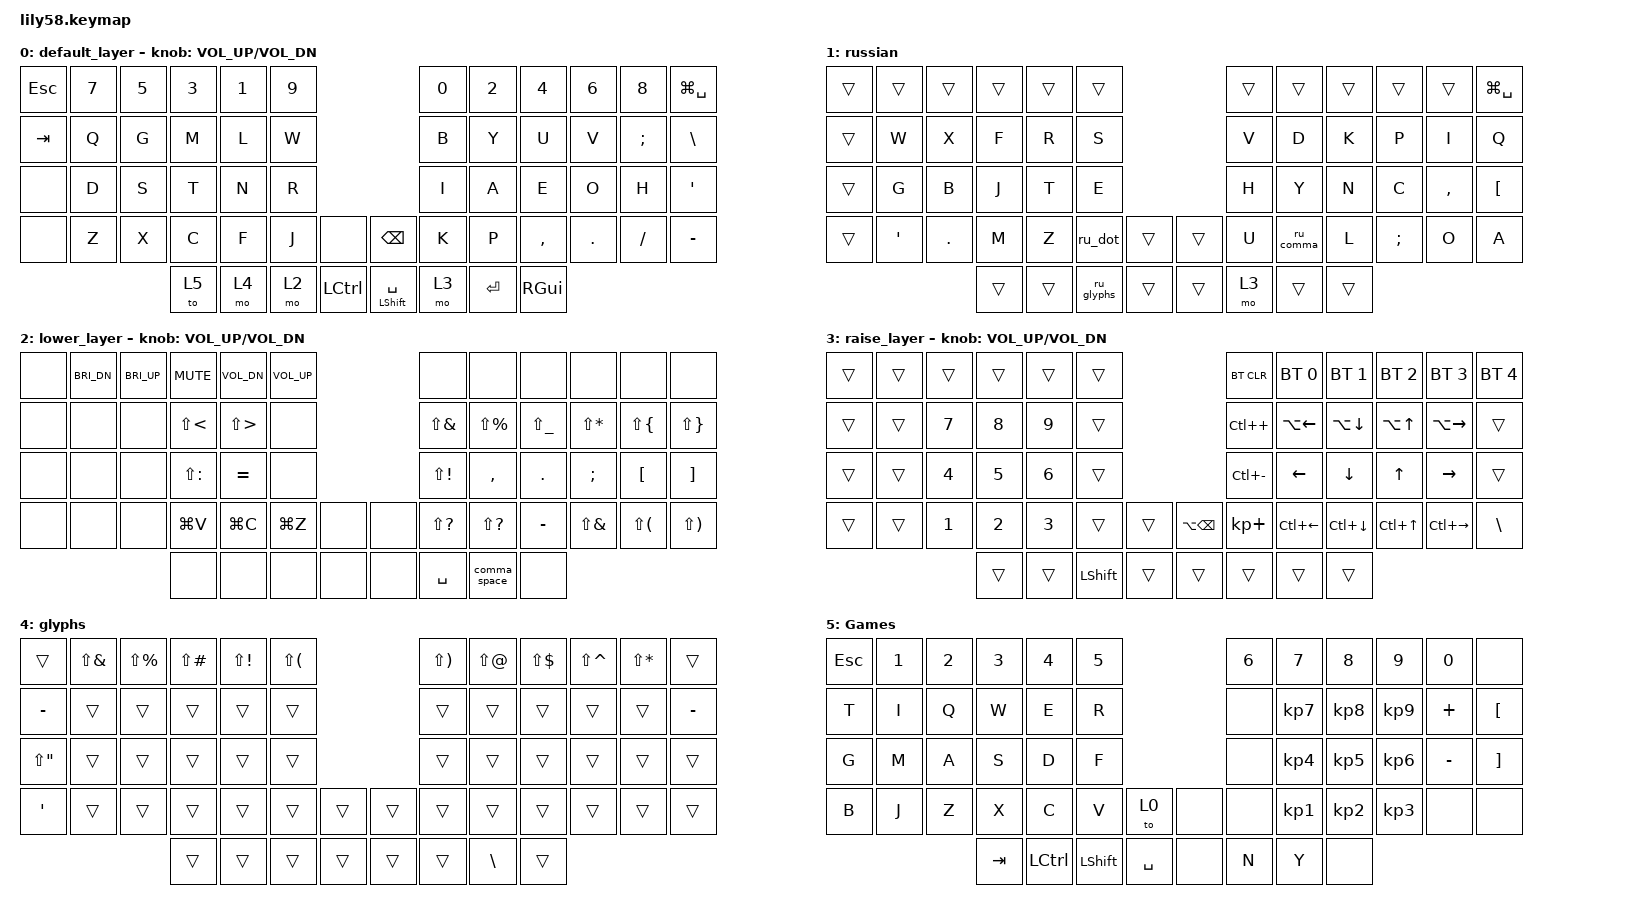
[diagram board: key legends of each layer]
/*
 * Copyright (c) 2020 The ZMK Contributors
 *
 * SPDX-License-Identifier: MIT
 */

#include <behaviors.dtsi>
#include <dt-bindings/zmk/bt.h>
#include <dt-bindings/zmk/keys.h>

/ {
    combos {
        compatible = "zmk,combos";

        fourth_layer_accord {
            bindings = <&to_rus>;
            key-positions = <51 52>;
            layers = <0>;
        };

        from_rus_to_def {
            bindings = <&from_rus>;
            key-positions = <51 52>;
            layers = <1>;
        };

        hard_sign {
            bindings = <&kp RIGHT_BRACKET>;
            key-positions = <39 40>;
            layers = <1>;
        };

        l3_underscore {
            bindings = <&kp LS(MINUS)>;
            key-positions = <55 56>;
        };

        i_o {
            bindings = <&kp BACKSLASH>;
            key-positions = <27 28>;
        };
    };

    macros {
        comma_space: comma_space {
            compatible = "zmk,behavior-macro";
            #binding-cells = <0>;
            bindings = <&macro_tap>, <&kp COMMA &kp SPACE>;

            label = "COMMA_SPACE";
        };

        to_rus: to_rus {
            compatible = "zmk,behavior-macro";
            #binding-cells = <0>;
            bindings = <&kp LG(SPACE) &to 1>;
            label = "TO_RUS";
        };

        from_rus: from_rus {
            compatible = "zmk,behavior-macro";
            #binding-cells = <0>;
            bindings = <&kp LG(SPACE) &to 0>;
            label = "FROM_RUS";
        };

        ru_glyphs: ru_glyphs {
            compatible = "zmk,behavior-macro";
            #binding-cells = <0>;
            bindings =
                <&kp LG(SPACE) &to 2>,
                <&macro_pause_for_release>,
                <&kp LG(SPACE) &to 1>;

            label = "RU_GLYPHS";
        };

        ru_dot: ru_dot {
            compatible = "zmk,behavior-macro";
            #binding-cells = <0>;
            bindings = <&kp LG(SPACE) &kp PERIOD &kp LG(SPACE)>;
            label = "RU_DOT";
        };

        ru_comma: ru_comma {
            compatible = "zmk,behavior-macro";
            #binding-cells = <0>;
            bindings = <&lang_shift &kp COMMA &lang_shift>;
            label = "RU_COMMA";
        };

        lang_shift: lang_shift {
            compatible = "zmk,behavior-macro";
            #binding-cells = <0>;
            bindings = <&kp LG(SPACE)>;
            label = "LANG_SHIFT";
        };
    };

    keymap {
        compatible = "zmk,keymap";

        default_layer {
            // ------------------------------------------------------------------------------------------------------------
            // |  ESC  |  1  |  2  |  3   |  4   |  5   |                   |  6   |  7    |  8    |  9   |   0   |   `   |
            // |  TAB  |  Q  |  W  |  E   |  R   |  T   |                   |  Y   |  U    |  I    |  O   |   P   |   -   |
            // |  CTRL |  A  |  S  |  D   |  F   |  G   |                   |  H   |  J    |  K    |  L   |   ;   |   '   |
            // | SHIFT |  Z  |  X  |  C   |  V   |  B   |   "["  |  |  "]"  |  N   |  M    |  ,    |  .   |   /   | SHIFT |
            //                     | ALT  | GUI  | LOWER|  SPACE |  | ENTER | RAISE| BSPC  | GUI   |

            bindings = <
&kp ESC  &kp N7  &kp N5  &kp N3  &kp N1  &kp N9                                     &kp N0  &kp N2     &kp N4     &kp N6   &kp N8    &kp LG(SPACE)
&kp TAB  &kp Q   &kp G   &kp M   &kp L   &kp W                                      &kp B   &kp Y      &kp U      &kp V    &kp SEMI  &kp BSLH
&none    &kp D   &kp S   &kp T   &kp N   &kp R                                      &kp I   &kp A      &kp E      &kp O    &kp H     &kp SQT
&none    &kp Z   &kp X   &kp C   &kp F   &kp J   &none        &kp BACKSPACE         &kp K   &kp P      &kp COMMA  &kp DOT  &kp FSLH  &kp MINUS
                         &to 5   &mo 4   &mo 2   &kp LCTRL    &mt LEFT_SHIFT SPACE  &mo 3   &kp ENTER  &kp RGUI
            >;

            sensor-bindings = <&inc_dec_kp C_VOL_UP C_VOL_DN>;
        };

        russian {
            bindings = <
&trans  &trans   &trans   &trans  &trans  &trans                        &trans  &trans     &trans  &trans    &trans     &kp LG(SPACE)
&trans  &kp W    &kp X    &kp F   &kp R   &kp S                         &kp V   &kp D      &kp K   &kp P     &kp I      &kp Q
&trans  &kp G    &kp B    &kp J   &kp T   &kp E                         &kp H   &kp Y      &kp N   &kp C     &kp COMMA  &kp LBKT
&trans  &kp SQT  &kp DOT  &kp M   &kp Z   &ru_dot     &trans    &trans  &kp U   &ru_comma  &kp L   &kp SEMI  &kp O      &kp A
                          &trans  &trans  &ru_glyphs  &trans    &trans  &mo 3   &trans     &trans
            >;
        };

        lower_layer {
            // --------------------------------------------------------------------------------------------------------------
            // | LPAD  | BRDn | BRUp |  MUT |  Vo- |  Vo+ |                   |      |       |       |      |       |       |
            // |  F1   |  F2  |  F3  |  F4  |  F5  |  F6  |                   |  F7  |  F8   |  F9   |  F10 |  F11  |  F12  |
            // |   `   |  !   |  @   |  #   |  $   |  %   |                   |  ^   |  &    |  *    |  (   |   )   |   ~   |
            // |       |      |      |      |      |      |        |  |       |      |  _    |  +    |  {   |   }   |  "|"  |
            //                       |      |      |      |        |  |       |      |       |       |

            bindings = <
&none  &kp C_BRI_DN  &kp C_BRI_UP  &kp C_MUTE     &kp C_VOL_DN  &kp C_VOL_UP                  &none          &none          &none          &none         &none         &none
&none  &none         &none         &kp LS(LT)     &kp LS(GT)    &none                         &kp LS(AMPS)   &kp LS(PRCNT)  &kp LS(UNDER)  &kp LS(STAR)  &kp LS(LBRC)  &kp LS(RBRC)
&none  &none         &none         &kp LS(COLON)  &kp EQUAL     &none                         &kp LS(EXCL)   &kp COMMA      &kp DOT        &kp SEMI      &kp LBKT      &kp RBKT
&none  &none         &none         &kp LG(V)      &kp LG(C)     &kp LG(Z)     &none    &none  &kp LS(QMARK)  &kp LS(QMARK)  &kp MINUS      &kp LS(AMPS)  &kp LS(LPAR)  &kp LS(RPAR)
                                   &none          &none         &none         &none    &none  &kp SPACE      &comma_space   &none
            >;

            sensor-bindings = <&inc_dec_kp C_VOL_UP C_VOL_DN>;
        };

        raise_layer {
            // ------------------------------------------------------------------------------------------------------------
            // |       |     |     |      |      |      |                   |      |       |       |      |       |       |
            // |   `   |  1  |  2  |  3   |  4   |  5   |                   |  6   |   7   |   8   |  9   |   0   |       |
            // |   F1  |  F2 |  F3 |  F4  |  F5  |  F6  |                   |      |   <-  |   v   |  ^   |  ->   |       |
            // |   F7  |  F8 |  F9 |  F10 |  F11 |  F12 |        |  |       |  +   |   -   |   =   |  [   |   ]   |   \   |
            //                     |      |      |      |        |  |       |      |       |       |

            bindings = <
&trans  &trans  &trans  &trans  &trans  &trans                                       &bt BT_CLR     &bt BT_SEL 0        &bt BT_SEL 1  &bt BT_SEL 2      &bt BT_SEL 3         &bt BT_SEL 4
&trans  &trans  &kp N7  &kp N8  &kp N9  &trans                                       &kp LC(PLUS)   &kp LA(LEFT_ARROW)  &kp LA(DOWN)  &kp LA(UP)        &kp LA(RIGHT)        &trans
&trans  &trans  &kp N4  &kp N5  &kp N6  &trans                                       &kp LC(MINUS)  &kp LEFT            &kp DOWN      &kp UP            &kp RIGHT            &trans
&trans  &trans  &kp N1  &kp N2  &kp N3  &trans          &trans    &kp LA(BACKSPACE)  &kp KP_PLUS    &kp LC(LEFT_ARROW)  &kp LC(DOWN)  &kp LC(UP_ARROW)  &kp LC(RIGHT_ARROW)  &kp BSLH
                        &trans  &trans  &kp LEFT_SHIFT  &trans    &trans             &trans         &trans              &trans
            >;

            sensor-bindings = <&inc_dec_kp C_VOL_UP C_VOL_DN>;
        };

        glyphs {
            bindings = <
&trans       &kp LS(AMPS)  &kp LS(PRCNT)  &kp LS(POUND)  &kp LS(EXCL)  &kp LS(LPAR)                    &kp LS(RPAR)  &kp LS(AT)  &kp LS(DLLR)  &kp LS(CARET)  &kp LS(STAR)  &trans
&kp MINUS    &trans        &trans         &trans         &trans        &trans                          &trans        &trans      &trans        &trans         &trans        &kp MINUS
&kp LS(DQT)  &trans        &trans         &trans         &trans        &trans                          &trans        &trans      &trans        &trans         &trans        &trans
&kp SQT      &trans        &trans         &trans         &trans        &trans        &trans    &trans  &trans        &trans      &trans        &trans         &trans        &trans
                                          &trans         &trans        &trans        &trans    &trans  &trans        &kp BSLH    &trans
            >;
        };

        Games {
            bindings = <
&kp ESC  &kp N1  &kp N2  &kp N3   &kp N4     &kp N5                         &kp N6  &kp N7           &kp N8     &kp N9     &kp N0     &none
&kp T    &kp I   &kp Q   &kp W    &kp E      &kp R                          &none   &kp KP_NUMBER_7  &kp KP_N8  &kp KP_N9  &kp PLUS   &kp LBKT
&kp G    &kp M   &kp A   &kp S    &kp D      &kp F                          &none   &kp KP_N4        &kp KP_N5  &kp KP_N6  &kp MINUS  &kp RBKT
&kp B    &kp J   &kp Z   &kp X    &kp C      &kp V      &to 0        &none  &none   &kp KP_N1        &kp KP_N2  &kp KP_N3  &none      &none
                         &kp TAB  &kp LCTRL  &kp LSHFT  &kp SPACE    &none  &kp N   &kp Y            &none
            >;
        };
    };
};
